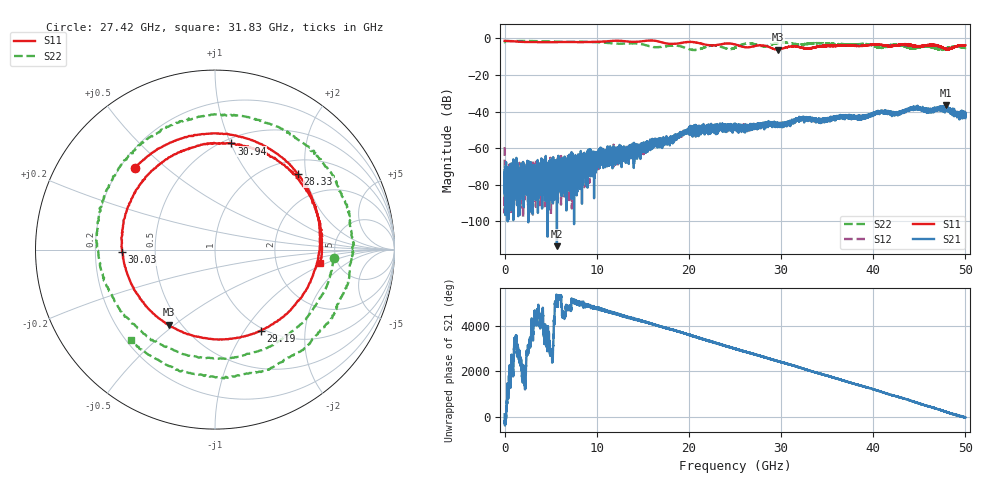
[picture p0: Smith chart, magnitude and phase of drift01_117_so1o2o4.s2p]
!Created with skrf (http://scikit-rf.org).
# Hz S RI R 50.0
!freq ReS11 ImS11 ReS21 ImS21 ReS12 ImS12 ReS22 ImS22
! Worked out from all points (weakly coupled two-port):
!   10001 points, 300 kHz to 50 GHz, reference 50 ohm
!   highest |S21| = -36.61 dB at 47.86 GHz (marker M1); lowest = -113.5 dB at 5.675 GHz (marker M2)
!   lowest |S11| = -6.2 dB at 29.62 GHz (marker M3), VSWR 2.93, Z = 21.6 - j23.8 ohm
!   |S11| at or under -10 dB: nowhere
!   |S22| runs from -6.4 to -1.4 dB; largest |S21 - S12| = 0.0035
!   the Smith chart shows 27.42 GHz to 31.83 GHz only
!   S11 on the Smith chart (normalised r, x): 27.42 GHz: 0.26, +0.40; 28.33 GHz: 1.30, +1.81; 29.19 GHz: 0.96, -1.19; 30.03 GHz: 0.32, -0.01; 30.94 GHz: 0.55, +1.01; 31.83 GHz: 3.68, -0.85
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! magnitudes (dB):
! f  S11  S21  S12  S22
! 300 kHz  -1.3  -82.3  -59.4  -2.0
! 255.3 MHz  -1.4  -87.4  -81.3  -1.4
! 2.73 GHz  -2.0  -89.6  -74.1  -1.4
! 3.2 GHz  -2.0  -74.1  -73.9  -1.4
! 5.675 GHz  -2.0  -113.5  -87.3  -1.7
! 8.335 GHz  -2.0  -70.8  -71.4  -1.8
! 16.67 GHz  -1.6  -57.9  -57.8  -4.8
! 20.4 GHz  -2.0  -48.5  -50.2  -6.3
! 22.62 GHz  -3.8  -48.8  -49.3  -3.8
! 25 GHz  -3.3  -48.9  -48.5  -5.1
! 27.42 GHz  -3.9  -49.2  -47.9  -3.5
! 28.33 GHz  -4.1  -47.2  -48.1  -4.3
! 29.19 GHz  -5.7  -47.6  -47.3  -3.0
! 29.62 GHz  -6.2  -47.7  -47.6  -2.5
! 30.03 GHz  -5.7  -46.6  -46.5  -2.3
! 30.94 GHz  -4.5  -45.0  -46.8  -2.5
! 31.83 GHz  -4.6  -43.8  -44.3  -3.2
! 33.34 GHz  -5.2  -44.3  -43.8  -2.7
! 41.67 GHz  -4.3  -39.9  -40.5  -4.1
! 46.48 GHz  -3.8  -38.9  -38.4  -4.8
! 47.86 GHz  -5.6  -36.6  -38.9  -5.5
! 50 GHz  -3.8  -43.5  -43.2  -5.3
